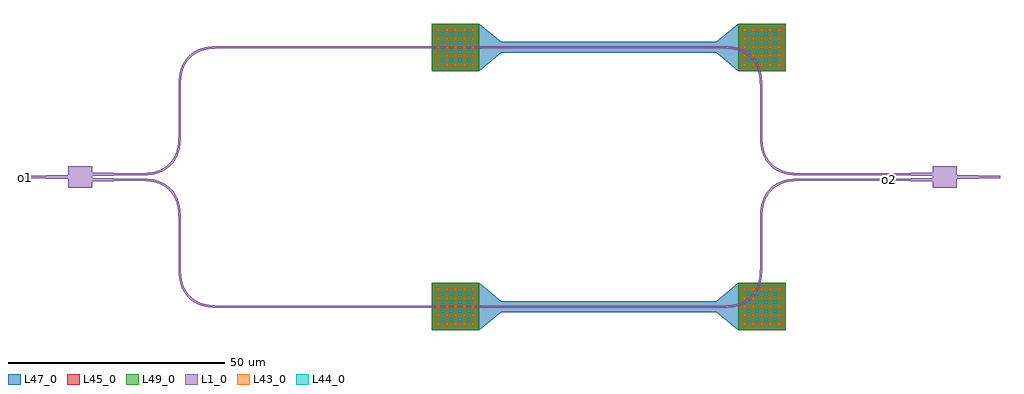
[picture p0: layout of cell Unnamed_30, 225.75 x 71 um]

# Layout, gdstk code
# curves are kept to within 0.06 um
from math import pi, radians
import gdstk
lib = gdstk.Library(unit=1e-6, precision=1e-09)
def R(c, l, rs):  # rectangles x0, y0, x1, y1
    for r in rs: c.add(gdstk.rectangle(r[:2], r[2:], *l))
def A(c, l, x, y, w, h, nx, ny, dx, dy):  # array of equal rectangles
    R(c, l, [(x+i*dx, y+j*dy, x+i*dx+w, y+j*dy+h) for i in range(nx) for j in range(ny)])
def P(c, l, *ps):  # polygons
    for p in ps: c.add(gdstk.Polygon(p, *l))
L1_0 = (1, 0)
L43_0 = (43, 0)
L44_0 = (44, 0)
L45_0 = (45, 0)
L47_0 = (47, 0)
L49_0 = (49, 0)

mmi_gdsfactorypcomponent = lib.new_cell('mmi_gdsfactorypcomponentspmmispmmi_I1_O2_WNone_WT1_LT10_571b94f3')
P(mmi_gdsfactorypcomponent, L1_0, [(0,-2.5),(0,-0.5),(-10,-0.25),(-10,0.25),(0,0.5),(0,2.5),(5.5,2.5),(5.5,1.125),(15.5,0.875),(15.5,0.375),(5.5,0.125),(5.5,-0.125),(15.5,-0.375),(15.5,-0.875),(5.5,-1.125),(5.5,-2.5)])

straight_heater_metal_un = lib.new_cell('straight_heater_metal_undercut_gdsfactorypcomponentspwa_c4f470c9')
R(straight_heater_metal_un, L1_0, [(0,-0.25,50,0.25)])
A(straight_heater_metal_un, L43_0, -14.75, -4.35, 0.7, 0.7, 5, 5, 2, 2)
A(straight_heater_metal_un, L43_0, 56.05, -4.35, 0.7, 0.7, 5, 5, 2, 2)
A(straight_heater_metal_un, L44_0, -13.75, -3.35, 0.7, 0.7, 4, 4, 2, 2)
A(straight_heater_metal_un, L44_0, 57.05, -3.35, 0.7, 0.7, 4, 4, 2, 2)
R(straight_heater_metal_un, L45_0, [(-15.9,-5.5,-4.9,5.5), (54.9,-5.5,65.9,5.5)])
P(straight_heater_metal_un, L47_0, [(-15.9,-5.5),(-15.9,5.5),(-4.9,5.5),(0.1,1.25),(49.9,1.25),(54.9,5.5),(65.9,5.5),(65.9,-5.5),(54.9,-5.5),(49.9,-1.25),(0.1,-1.25),(-4.9,-5.5)])
R(straight_heater_metal_un, L49_0, [(-15.9,-5.5,-4.9,5.5), (54.9,-5.5,65.9,5.5)])

c_mmi_gdsfactorypcomponent = lib.new_cell('mmi_gdsfactorypcomponentspmmispmmi_I2_O1_WNone_WT1_LT10_62ac434d')
P(c_mmi_gdsfactorypcomponent, L1_0, [(0,-2.5),(0,-1.125),(-10,-0.875),(-10,-0.375),(0,-0.125),(0,0.125),(-10,0.375),(-10,0.875),(0,1.125),(0,2.5),(5.5,2.5),(5.5,0.5),(15.5,0.25),(15.5,-0.25),(5.5,-0.5),(5.5,-2.5)])

bend_euler_gdsfactorypco = lib.new_cell('bend_euler_gdsfactorypcomponentspbendspbend_euler_R10_A_335c8724')
P(bend_euler_gdsfactorypco, L1_0, [(0,-0.25),(0,0.25),(2.881,0.353),(3.952,0.52),(4.99,0.806),(6.431,1.505),(7.575,2.425),(8.495,3.569),(9.194,5.01),(9.48,6.048),(9.647,7.119),(9.75,10),(10.25,10),(10.158,7.205),(9.797,5.254),(9.457,4.312),(9.066,3.545),(8.5,2.715),(7.928,2.072),(7.285,1.5),(6.455,0.934),(5.688,0.543),(4.746,0.203),(2.795,-0.158)])

straight_gdsfactorypcomp = lib.new_cell('straight_gdsfactorypcomponentspwaveguidespstraight_L0p2_10786d69')
R(straight_gdsfactorypcomp, L1_0, [(0,-0.25,0.25,0.25)])

c_straight_gdsfactorypcomp = lib.new_cell('straight_gdsfactorypcomponentspwaveguidespstraight_L9p3_3c66e8f0')
R(c_straight_gdsfactorypcomp, L1_0, [(0,-0.25,9.375,0.25)])

c_straight_gdsfactorypcomp_ = lib.new_cell('straight_gdsfactorypcomponentspwaveguidespstraight_L64p_e7bc9ba0')
R(c_straight_gdsfactorypcomp_, L1_0, [(0,-0.25,64.25,0.25)])

c_straight_gdsfactorypcomp__ = lib.new_cell('straight_gdsfactorypcomponentspwaveguidespstraight_L19p_2b1d57dc')
R(c_straight_gdsfactorypcomp__, L1_0, [(0,-0.25,19.75,0.25)])

unnamed_30 = lib.new_cell('Unnamed_30')
P(unnamed_30, L1_0, [(-10,-0.25),(-10.25,0),(-10.062,0.188),(-10.025,0.188),(-10.215,0),(-10.025,0),(-10.025,0.188),(-10.062,0.188),(-10,0.25)],
  [(190,-0.875),(189.75,-0.625),(189.938,-0.437),(189.975,-0.437),(189.785,-0.625),(189.975,-0.625),(189.975,-0.437),(189.938,-0.437),(190,-0.375)])
unnamed_30.add(gdstk.Reference(mmi_gdsfactorypcomponent, (0,0)))
unnamed_30.add(gdstk.Reference(straight_heater_metal_un, (100,30)))
unnamed_30.add(gdstk.Reference(straight_heater_metal_un, (100,-30)))
unnamed_30.add(gdstk.Reference(c_mmi_gdsfactorypcomponent, (200,0)))
unnamed_30.add(gdstk.Reference(bend_euler_gdsfactorypco, (25.75,10.625), rotation=3*pi/2, x_reflection=True))
unnamed_30.add(gdstk.Reference(straight_gdsfactorypcomp, (15.5,0.625)))
unnamed_30.add(gdstk.Reference(bend_euler_gdsfactorypco, (35.75,30), rotation=pi))
unnamed_30.add(gdstk.Reference(c_straight_gdsfactorypcomp, (25.75,10.625), rotation=pi/2))
unnamed_30.add(gdstk.Reference(c_straight_gdsfactorypcomp_, (35.75,30)))
unnamed_30.add(gdstk.Reference(bend_euler_gdsfactorypco, (25.75,-10.625), rotation=pi/2))
unnamed_30.add(gdstk.Reference(straight_gdsfactorypcomp, (15.5,-0.625)))
unnamed_30.add(gdstk.Reference(bend_euler_gdsfactorypco, (35.75,-30), rotation=pi, x_reflection=True))
unnamed_30.add(gdstk.Reference(c_straight_gdsfactorypcomp, (25.75,-10.625), rotation=3*pi/2))
unnamed_30.add(gdstk.Reference(c_straight_gdsfactorypcomp_, (35.75,-30)))
unnamed_30.add(gdstk.Reference(bend_euler_gdsfactorypco, (160.25,20), rotation=pi/2))
unnamed_30.add(gdstk.Reference(straight_gdsfactorypcomp, (150,30)))
unnamed_30.add(gdstk.Reference(bend_euler_gdsfactorypco, (170.25,0.625), rotation=pi, x_reflection=True))
unnamed_30.add(gdstk.Reference(c_straight_gdsfactorypcomp, (160.25,20), rotation=3*pi/2))
unnamed_30.add(gdstk.Reference(c_straight_gdsfactorypcomp__, (170.25,0.625)))
unnamed_30.add(gdstk.Reference(bend_euler_gdsfactorypco, (160.25,-20), rotation=3*pi/2, x_reflection=True))
unnamed_30.add(gdstk.Reference(straight_gdsfactorypcomp, (150,-30)))
unnamed_30.add(gdstk.Reference(bend_euler_gdsfactorypco, (170.25,-0.625), rotation=pi))
unnamed_30.add(gdstk.Reference(c_straight_gdsfactorypcomp, (160.25,-20), rotation=pi/2))
unnamed_30.add(gdstk.Reference(c_straight_gdsfactorypcomp__, (170.25,-0.625)))
unnamed_30.add(gdstk.Label('o1', (-10,0), layer=1, texttype=0))
unnamed_30.add(gdstk.Label('o2', (190,-0.625), layer=1, texttype=0))

lib.write_gds('Unnamed_30.gds')
